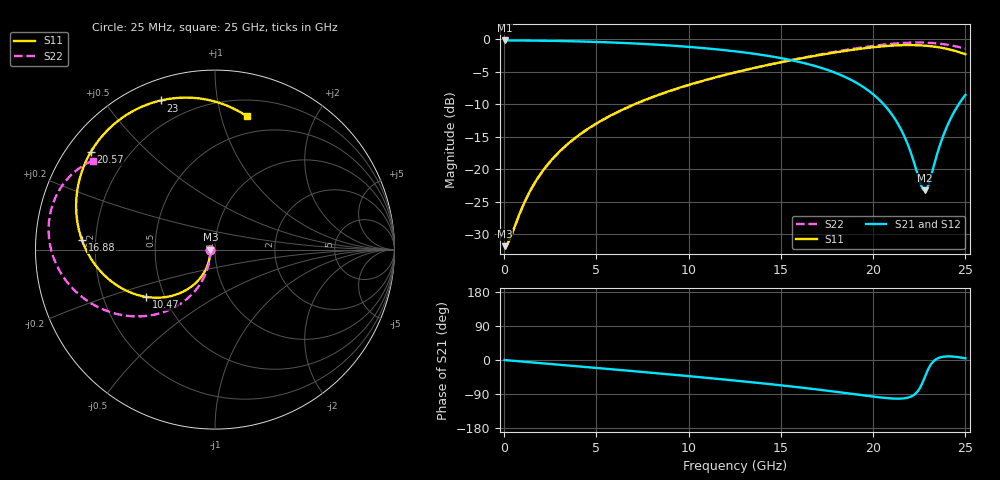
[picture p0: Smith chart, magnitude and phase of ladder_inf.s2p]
! BV_vna_rf_hblb1: kisi's ladder as in the channel (infinite plates), 3D loss model
# Hz S RI R 50
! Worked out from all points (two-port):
!   1000 points, 25 MHz to 25 GHz, reference 50 ohm
!   highest |S21| = -0.22 dB at 25 MHz (marker M1); lowest = -23.3 dB at 22.8 GHz (marker M2)
!   |S21| within 3 dB of the highest: start of sweep to 15.51 GHz
!   lowest |S11| = -31.9 dB at 25 MHz (marker M3), VSWR 1.05, Z = 47.5 - j0.101 ohm
!   |S11| at or under -10 dB: start of sweep to 7.092 GHz
!   |S22| runs from -31.9 to -0.5 dB; largest |S21 - S12| = 0
!   S11 on the Smith chart (normalised r, x): 25 MHz: 0.95, -0.00; 10.47 GHz: 0.40, -0.27; 16.88 GHz: 0.15, +0.04; 20.57 GHz: 0.07, +0.34; 23 GHz: 0.09, +0.70; 25 GHz: 0.34, +1.21
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2.5e7  -0.0255 -0.00106  0.9745 -0.00177  0.9745 -0.00177  -0.0255 -0.00107
3e8  -0.0258 -0.0128  0.9742 -0.0212  0.9742 -0.0212  -0.0257 -0.0128
1.275e9  -0.0314 -0.0539  0.9688 -0.0898  0.9688 -0.0898  -0.0297 -0.0543
1.925e9  -0.039 -0.0807  0.9614 -0.1352  0.9614 -0.1352  -0.0352 -0.0817
2.925e9  -0.0566 -0.1203  0.9443 -0.2037  0.9443 -0.2037  -0.0479 -0.123
4.2e9  -0.089 -0.1667  0.9125 -0.2879  0.9125 -0.2879  -0.0715 -0.1734
6.05e9  -0.1546 -0.2218  0.8475 -0.4012  0.8475 -0.4012  -0.12 -0.2402
8.35e9  -0.2627 -0.2625  0.7374 -0.5212  0.7374 -0.5212  -0.2027 -0.3087
1.0475e10  -0.3823 -0.2635  0.6104 -0.6046  0.6104 -0.6046  -0.2995 -0.3525
1.2525e10  -0.5074 -0.2221  0.4688 -0.6527  0.4688 -0.6527  -0.4095 -0.3717
1.4675e10  -0.6362 -0.1224  0.3062 -0.659  0.3062 -0.659  -0.5404 -0.36
1.6675e10  -0.734 0.0345  0.1515 -0.6114  0.1515 -0.6114  -0.6729 -0.3092
1.6875e10  -0.7414 0.0541  0.1366 -0.6032  0.1366 -0.6032  -0.6864 -0.3014
1.8925e10  -0.7713 0.2986  0.00119 -0.4749  0.00119 -0.4749  -0.8211 -0.1843
2.0575e10  -0.6932 0.5417  -0.0533 -0.3096  -0.0533 -0.3096  -0.9048 -0.0295
2.085e10  -0.6669 0.5832  -0.0539 -0.2774  -0.0539 -0.2774  -0.9138 0.00215
2.1675e10  -0.5602 0.7009  -0.0351 -0.1772  -0.0351 -0.1772  -0.927 0.106
2.2575e10  -0.3949 0.8013  0.026 -0.072  0.026 -0.072  -0.911 0.2292
2.28e10  -0.3462 0.8188  0.0483 -0.0487  0.0483 -0.0487  -0.901 0.2603
2.3e10  -0.3009 0.8311  0.0705 -0.0295  0.0705 -0.0295  -0.8901 0.2876
2.395e10  -0.0691 0.8396  0.2012 0.0332  0.2012 0.0332  -0.8107 0.4062
2.5e10  0.1784 0.7425  0.3706 0.0285  0.3706 0.0285  -0.6809 0.496
